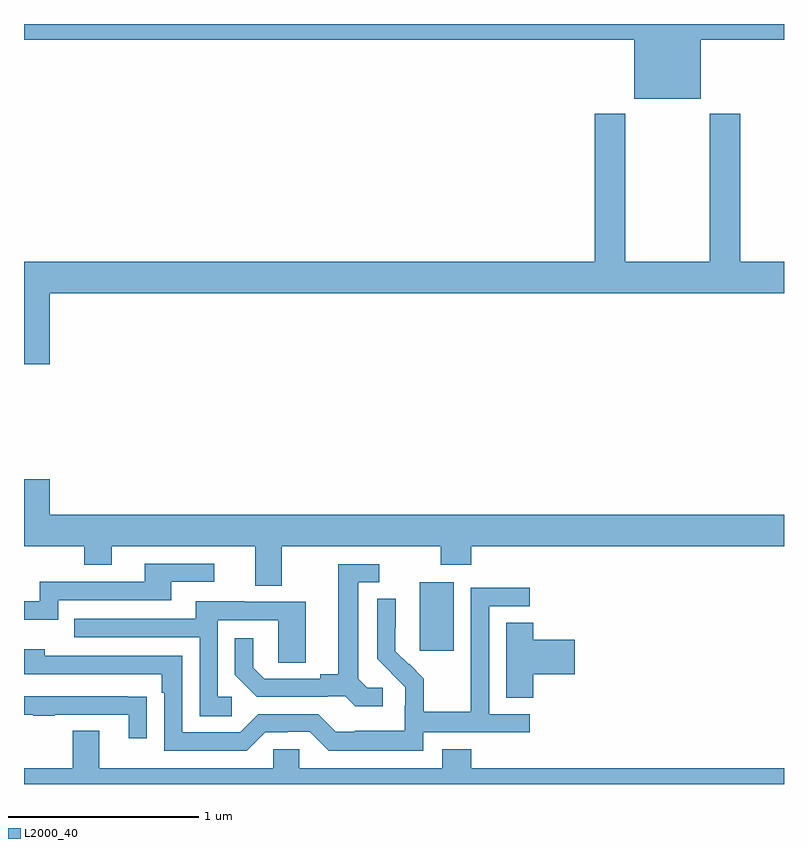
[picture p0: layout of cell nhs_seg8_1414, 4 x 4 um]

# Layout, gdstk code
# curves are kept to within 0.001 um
import gdstk
lib = gdstk.Library(unit=1e-6, precision=1e-09)
def R(c, l, rs):  # rectangles x0, y0, x1, y1
    for r in rs: c.add(gdstk.rectangle(r[:2], r[2:], *l))
def P(c, l, *ps):  # polygons
    for p in ps: c.add(gdstk.Polygon(p, *l))
L2000_40 = (2000, 40)

nhs_seg8_1414 = lib.new_cell('nhs_seg8_1414')
R(nhs_seg8_1414, L2000_40, [(203.084,1130.601,203.263,1130.962)])
P(nhs_seg8_1414, L2000_40, [(201,1133.816),(204.212,1133.816),(204.212,1133.507),(204.562,1133.507),(204.562,1133.816),(205,1133.816),(205,1133.9),(201,1133.9)],
  [(201.136,1132.484),(205,1132.484),(205,1132.648),(204.77,1132.648),(204.77,1133.428),(204.61,1133.428),(204.61,1132.648),(204.165,1132.648),(204.165,1133.428),(204.005,1133.428),(204.005,1132.648),(201,1132.648),(201,1132.11),(201.136,1132.11)],
  [(202.357,1131.152),(203.194,1131.152),(203.194,1131.053),(203.354,1131.053),(203.354,1131.152),(205,1131.152),(205,1131.316),(201.136,1131.316),(201.136,1131.505),(201,1131.505),(201,1131.152),(201.316,1131.152),(201.316,1131.053),(201.463,1131.053),(201.463,1131.152),(202.217,1131.152),(202.217,1130.944),(202.357,1130.944)],
  [(201.18,1130.868),(201.775,1130.868),(201.775,1130.964),(202,1130.964),(202,1131.06),(201.635,1131.06),(201.635,1130.964),(201.084,1130.964),(201.084,1130.862),(201,1130.862),(201,1130.765),(201.18,1130.765)],
  [(202.888,1130.406),(202.806,1130.406),(202.759,1130.453),(202.759,1130.961),(202.87,1130.961),(202.87,1131.057),(202.655,1131.057),(202.655,1130.477),(202.559,1130.477),(202.559,1130.454),(202.264,1130.454),(202.207,1130.511),(202.207,1130.668),(202.11,1130.668),(202.11,1130.474),(202.226,1130.358),(202.598,1130.358),(202.598,1130.361),(202.692,1130.361),(202.744,1130.309),(202.888,1130.309)],
  [(203.1,1130.172),(203.662,1130.172),(203.662,1130.268),(203.448,1130.268),(203.448,1130.835),(203.662,1130.835),(203.662,1130.934),(203.352,1130.934),(203.352,1130.504),(203.35,1130.504),(203.35,1130.281),(203.105,1130.281),(203.105,1130.455),(203.028,1130.532),(203.025,1130.529),(202.955,1130.6),(202.956,1130.876),(202.86,1130.876),(202.86,1130.558),(203.006,1130.41),(203.006,1130.313),(203.004,1130.313),(203.004,1130.179),(202.741,1130.179),(202.741,1130.175),(202.641,1130.175),(202.548,1130.268),(202.233,1130.268),(202.137,1130.172),(201.834,1130.172),(201.834,1130.574),(201.11,1130.574),(201.11,1130.608),(201,1130.608),(201,1130.478),(201.725,1130.478),(201.725,1130.381),(201.738,1130.381),(201.738,1130.076),(202.173,1130.076),(202.269,1130.172),(202.388,1130.172),(202.388,1130.175),(202.503,1130.175),(202.603,1130.075),(203.1,1130.075)],
  [(202.093,1130.358),(202.02,1130.358),(202.02,1130.763),(202.338,1130.763),(202.338,1130.539),(202.483,1130.539),(202.483,1130.859),(202.159,1130.859),(202.159,1130.863),(201.905,1130.863),(201.905,1130.769),(201.265,1130.769),(201.265,1130.673),(201.924,1130.673),(201.924,1130.257),(202.093,1130.257)],
  [(203.681,1130.477),(203.899,1130.477),(203.899,1130.66),(203.681,1130.66),(203.681,1130.75),(203.537,1130.75),(203.537,1130.353),(203.681,1130.353)],
  [(201.647,1130.36),(201.545,1130.36),(201.545,1130.361),(201,1130.361),(201,1130.265),(201.049,1130.265),(201.049,1130.26),(201.161,1130.26),(201.161,1130.265),(201.551,1130.265),(201.551,1130.142),(201.647,1130.142)],
  [(205,1129.984),(203.354,1129.984),(203.354,1130.083),(203.201,1130.083),(203.201,1129.984),(202.449,1129.984),(202.449,1130.082),(202.311,1130.082),(202.311,1129.984),(201.397,1129.984),(201.397,1130.179),(201.257,1130.179),(201.257,1129.984),(201,1129.984),(201,1129.9),(205,1129.9)])

lib.write_gds('nhs_seg8_1414.gds')
